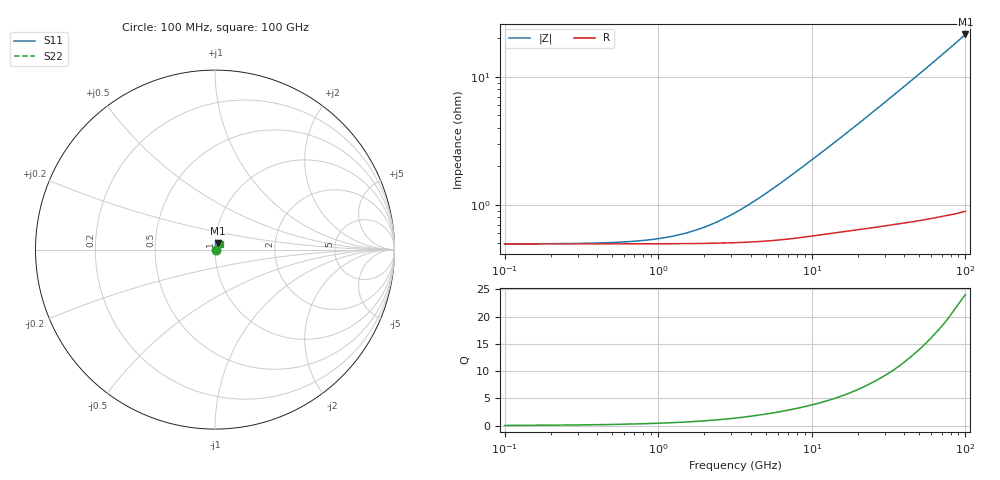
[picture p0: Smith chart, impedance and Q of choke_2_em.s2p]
#  Hz  S  RI  R  50
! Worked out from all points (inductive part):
!   1000 points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, 100 MHz to 100 GHz, reference 50 ohm
!   read as 1/Y11, port 2 shorted: L = 34.4 pH near 7.5 GHz
!   highest Q = 24.1 at 100 GHz (marker M1), where L = 34.1 pH
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1e8  0.00491 5.5e-05  0.9951 -0.000386  0.9951 -0.000386  0.00492 5.52e-05
8e8  0.00492 0.000439  0.9951 -0.00309  0.9951 -0.00309  0.00493 0.000441
1.4e9  0.00494 0.000767  0.995 -0.0054  0.995 -0.00541  0.00494 0.000771
2.1e9  0.00497 0.00115  0.995 -0.0081  0.995 -0.0081  0.00498 0.00115
2.9e9  0.00501 0.00157  0.9949 -0.0112  0.9949 -0.0112  0.00503 0.00158
4.4e9  0.00513 0.00235  0.9947 -0.0169  0.9947 -0.0169  0.00516 0.00236
8.4e9  0.00558 0.00424  0.994 -0.032  0.994 -0.032  0.00567 0.00425
1.05e10  0.00582 0.00513  0.9935 -0.0398  0.9935 -0.0398  0.00596 0.00513
1.34e10  0.00614 0.00628  0.9928 -0.0504  0.9928 -0.0504  0.00635 0.00628
1.68e10  0.00646 0.00758  0.9918 -0.0629  0.9918 -0.0629  0.00679 0.00756
2.06e10  0.00679 0.00901  0.9906 -0.0768  0.9906 -0.0768  0.00728 0.00896
2.48e10  0.00715 0.0106  0.9891 -0.0922  0.9891 -0.0922  0.00785 0.0105
2.9e10  0.00752 0.0121  0.9873 -0.1075  0.9873 -0.1075  0.00847 0.012
3.34e10  0.00791 0.0137  0.9853 -0.1236  0.9853 -0.1236  0.00918 0.0136
4.13e10  0.00865 0.0166  0.981 -0.1522  0.981 -0.1522  0.0106 0.0163
5.01e10  0.00954 0.0197  0.9752 -0.1839  0.9752 -0.1839  0.0123 0.0191
5.8e10  0.0104 0.0224  0.9692 -0.2122  0.9692 -0.2122  0.0141 0.0216
6.67e10  0.0114 0.0254  0.9616 -0.2431  0.9616 -0.2431  0.0162 0.0241
7.48e10  0.0125 0.0281  0.9536 -0.2716  0.9536 -0.2716  0.0184 0.0263
8.34e10  0.0136 0.0309  0.9443 -0.3015  0.9443 -0.3016  0.0209 0.0285
9.23e10  0.0149 0.0338  0.9337 -0.3322  0.9337 -0.3322  0.0237 0.0305
1e11  0.0161 0.0361  0.9237 -0.3583  0.9237 -0.3583  0.0263 0.032
